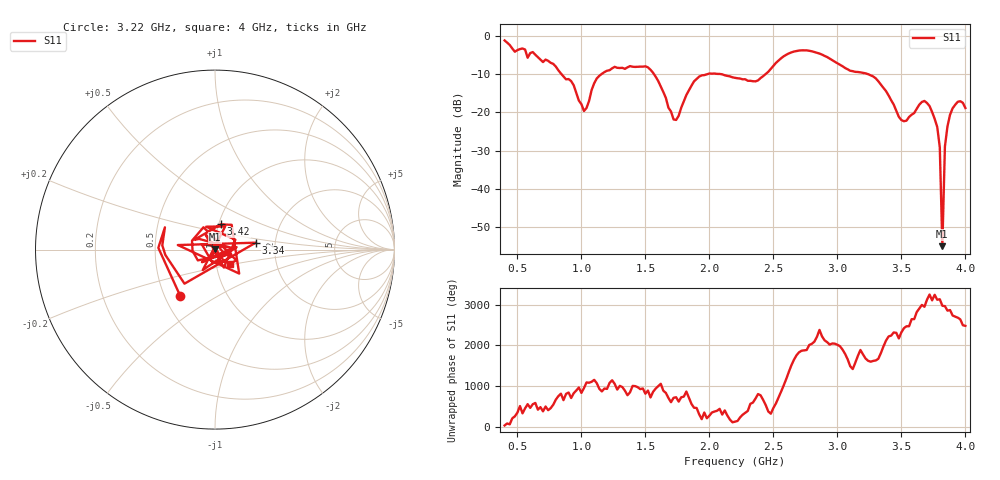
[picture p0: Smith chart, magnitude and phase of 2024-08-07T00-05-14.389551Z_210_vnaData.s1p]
!Created with skrf (http://scikit-rf.org).
# Hz S RI R 50.0
!freq ReS11 ImS11
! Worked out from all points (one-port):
!   181 points, 400 MHz to 4 GHz, reference 50 ohm
!   lowest |S11| = -55.0 dB at 3.82 GHz (marker M1), VSWR 1.00, Z = 50 + j0.178 ohm
!   |S11| at or under -10 dB: 1.567 GHz to 1.985 GHz (418.3 MHz wide, 23.6 % of centre); 2.091 GHz to 2.439 GHz (347.6 MHz wide, 15.3 % of centre); 3.239 GHz to end of sweep (the widest 3 of 4)
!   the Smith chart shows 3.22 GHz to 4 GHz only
!   S11 on the Smith chart (normalised r, x): 3.22 GHz: 0.60, -0.35; 3.34 GHz: 1.58, +0.13; 3.42 GHz: 1.02, +0.29; 4 GHz: 1.16, -0.19
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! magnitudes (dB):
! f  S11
! 400 MHz  -1.2
! 860 MHz  -10.6
! 940 MHz  -12.9
! 1.02 GHz  -19.6
! 1.12 GHz  -11.1
! 1.3 GHz  -8.4
! 1.52 GHz  -8.2
! 1.6 GHz  -11.8
! 1.72 GHz  -21.8
! 1.76 GHz  -20.9
! 1.92 GHz  -10.6
! 2.2 GHz  -11.0
! 2.38 GHz  -11.6
! 2.66 GHz  -4.1
! 3.1 GHz  -9.1
! 3.22 GHz  -9.8
! 3.34 GHz  -12.8
! 3.42 GHz  -16.8
! 3.5 GHz  -22.0
! 3.56 GHz  -21.2
! 3.68 GHz  -17.0
! 3.78 GHz  -23.8
! 3.8 GHz  -29.2
! 3.82 GHz  -55.0
! 3.84 GHz  -28.9
! 3.86 GHz  -23.7
! 3.94 GHz  -17.2
! 4 GHz  -18.9
